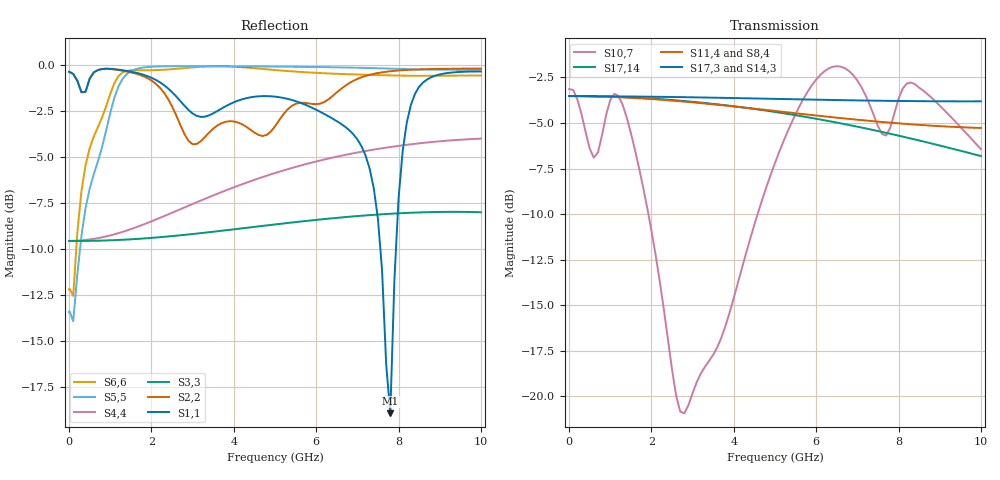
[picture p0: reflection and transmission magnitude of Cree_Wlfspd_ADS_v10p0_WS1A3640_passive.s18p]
! Created Wed Nov 18 20:24:42 2020
! 18 Port Network Data from SP1.SP block
! freq  magS1_1  angS1_1  magS1_2  angS1_2  magS1_3  angS1_3  magS1_4  angS1_4
!  magS1_5  angS1_5  magS1_6  angS1_6  magS1_7  angS1_7  magS1_8  angS1_8
!  magS1_9  angS1_9  magS1_10  angS1_10  magS1_11  angS1_11  magS1_12  angS1_12
!  magS1_13  angS1_13  magS1_14  angS1_14  magS1_15  angS1_15  magS1_16  angS1_16
!  magS1_17  angS1_17  magS1_18  angS1_18
!  magS2_1  angS2_1  magS2_2  angS2_2
!  magS2_3  angS2_3  magS2_4  angS2_4  magS2_5  angS2_5  magS2_6  angS2_6
!  magS2_7  angS2_7  magS2_8  angS2_8  magS2_9  angS2_9  magS2_10  angS2_10
!  magS2_11  angS2_11  magS2_12  angS2_12  magS2_13  angS2_13  magS2_14  angS2_14
!  magS2_15  angS2_15  magS2_16  angS2_16  magS2_17  angS2_17  magS2_18  angS2_18
!  magS3_1  angS3_1  magS3_2  angS3_2  magS3_3  angS3_3  magS3_4  angS3_4
!  magS3_5  angS3_5  magS3_6  angS3_6  magS3_7  angS3_7  magS3_8  angS3_8
!  magS3_9  angS3_9  magS3_10  angS3_10  magS3_11  angS3_11  magS3_12  angS3_12
!  magS3_13  angS3_13  magS3_14  angS3_14  magS3_15  angS3_15  magS3_16  angS3_16
!  magS3_17  angS3_17  magS3_18  angS3_18
!  magS4_1  angS4_1  magS4_2  angS4_2
!  magS4_3  angS4_3  magS4_4  angS4_4  magS4_5  angS4_5  magS4_6  angS4_6
!  magS4_7  angS4_7  magS4_8  angS4_8  magS4_9  angS4_9  magS4_10  angS4_10
!  magS4_11  angS4_11  magS4_12  angS4_12  magS4_13  angS4_13  magS4_14  angS4_14
!  magS4_15  angS4_15  magS4_16  angS4_16  magS4_17  angS4_17  magS4_18  angS4_18
!  magS5_1  angS5_1  magS5_2  angS5_2  magS5_3  angS5_3  magS5_4  angS5_4
!  magS5_5  angS5_5  magS5_6  angS5_6  magS5_7  angS5_7  magS5_8  angS5_8
!  magS5_9  angS5_9  magS5_10  angS5_10  magS5_11  angS5_11  magS5_12  angS5_12
!  magS5_13  angS5_13  magS5_14  angS5_14  magS5_15  angS5_15  magS5_16  angS5_16
!  magS5_17  angS5_17  magS5_18  angS5_18
!  magS6_1  angS6_1  magS6_2  angS6_2
!  magS6_3  angS6_3  magS6_4  angS6_4  magS6_5  angS6_5  magS6_6  angS6_6
!  magS6_7  angS6_7  magS6_8  angS6_8  magS6_9  angS6_9  magS6_10  angS6_10
!  magS6_11  angS6_11  magS6_12  angS6_12  magS6_13  angS6_13  magS6_14  angS6_14
!  magS6_15  angS6_15  magS6_16  angS6_16  magS6_17  angS6_17  magS6_18  angS6_18
!  magS7_1  angS7_1  magS7_2  angS7_2  magS7_3  angS7_3  magS7_4  angS7_4
!  magS7_5  angS7_5  magS7_6  angS7_6  magS7_7  angS7_7  magS7_8  angS7_8
!  magS7_9  angS7_9  magS7_10  angS7_10  magS7_11  angS7_11  magS7_12  angS7_12
!  magS7_13  angS7_13  magS7_14  angS7_14  magS7_15  angS7_15  magS7_16  angS7_16
!  magS7_17  angS7_17  magS7_18  angS7_18
!  magS8_1  angS8_1  magS8_2  angS8_2
!  magS8_3  angS8_3  magS8_4  angS8_4  magS8_5  angS8_5  magS8_6  angS8_6
!  magS8_7  angS8_7  magS8_8  angS8_8  magS8_9  angS8_9  magS8_10  angS8_10
!  magS8_11  angS8_11  magS8_12  angS8_12  magS8_13  angS8_13  magS8_14  angS8_14
!  magS8_15  angS8_15  magS8_16  angS8_16  magS8_17  angS8_17  magS8_18  angS8_18
!  magS9_1  angS9_1  magS9_2  angS9_2  magS9_3  angS9_3  magS9_4  angS9_4
!  magS9_5  angS9_5  magS9_6  angS9_6  magS9_7  angS9_7  magS9_8  angS9_8
!  magS9_9  angS9_9  magS9_10  angS9_10  magS9_11  angS9_11  magS9_12  angS9_12
!  magS9_13  angS9_13  magS9_14  angS9_14  magS9_15  angS9_15  magS9_16  angS9_16
!  magS9_17  angS9_17  magS9_18  angS9_18
!  magS10_1  angS10_1  magS10_2  angS10_2
!  magS10_3  angS10_3  magS10_4  angS10_4  magS10_5  angS10_5  magS10_6  angS10_6
!  magS10_7  angS10_7  magS10_8  angS10_8  magS10_9  angS10_9  magS10_10  angS10_10
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# hz S ma R 50
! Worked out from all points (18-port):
!   103 points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, 100 kHz to 10 GHz, reference 50 ohm
!   strongest paths, dB at 100 kHz, 2.3 GHz, 4.9 GHz, 7.5 GHz, 10 GHz:
!     S17,3: -3.5, -3.6, -3.7, -3.8, -3.8
!     S14,3: -3.5, -3.6, -3.7, -3.8, -3.8
!     S11,4: -3.5, -3.7, -4.3, -4.9, -5.3
!     S8,4: -3.5, -3.7, -4.3, -4.9, -5.3
!     S17,14: -3.5, -3.7, -4.4, -5.4, -6.8
!     S10,7: -3.1, -15.2, -7.8, -5.2, -6.4
!   lowest |S11| = -18.9 dB at 7.8 GHz (marker M1), VSWR 1.26, Z = 43.4 - j8.34 ohm
!   |S11| at or under -10 dB: 7.559 GHz to 7.938 GHz (378.5 MHz wide, 4.88 % of centre)
